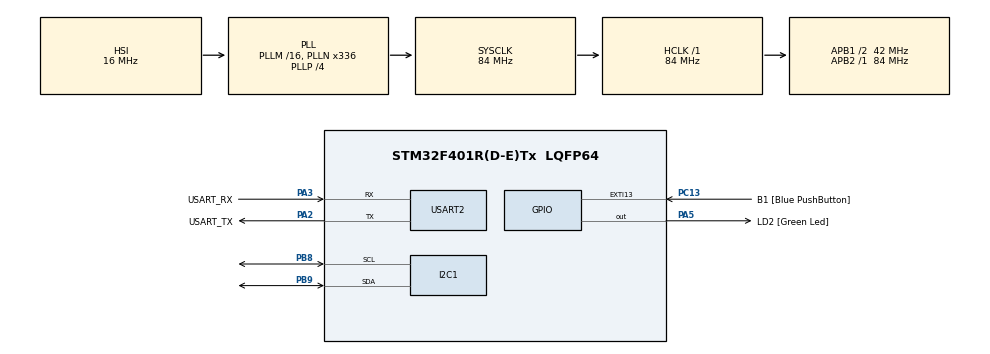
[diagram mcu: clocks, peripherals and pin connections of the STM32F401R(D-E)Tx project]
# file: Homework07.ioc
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Dma.I2C1_RX.1.Direction=DMA_PERIPH_TO_MEMORY
Dma.I2C1_RX.1.FIFOMode=DMA_FIFOMODE_DISABLE
Dma.I2C1_RX.1.Instance=DMA1_Stream0
Dma.I2C1_RX.1.MemDataAlignment=DMA_MDATAALIGN_BYTE
Dma.I2C1_RX.1.MemInc=DMA_MINC_ENABLE
Dma.I2C1_RX.1.Mode=DMA_NORMAL
Dma.I2C1_RX.1.PeriphDataAlignment=DMA_PDATAALIGN_BYTE
Dma.I2C1_RX.1.PeriphInc=DMA_PINC_DISABLE
Dma.I2C1_RX.1.Priority=DMA_PRIORITY_LOW
Dma.I2C1_TX.2.Direction=DMA_MEMORY_TO_PERIPH
Dma.I2C1_TX.2.FIFOMode=DMA_FIFOMODE_DISABLE
Dma.I2C1_TX.2.Instance=DMA1_Stream7
Dma.I2C1_TX.2.MemDataAlignment=DMA_MDATAALIGN_BYTE
Dma.I2C1_TX.2.MemInc=DMA_MINC_ENABLE
Dma.I2C1_TX.2.Mode=DMA_NORMAL
Dma.I2C1_TX.2.PeriphDataAlignment=DMA_PDATAALIGN_BYTE
Dma.I2C1_TX.2.PeriphInc=DMA_PINC_DISABLE
Dma.I2C1_TX.2.Priority=DMA_PRIORITY_LOW
Dma.Request0=USART2_TX
Dma.Request1=I2C1_RX
Dma.Request2=I2C1_TX
Dma.USART2_TX.0.Direction=DMA_MEMORY_TO_PERIPH
Dma.USART2_TX.0.FIFOMode=DMA_FIFOMODE_DISABLE
Dma.USART2_TX.0.Instance=DMA1_Stream6
Dma.USART2_TX.0.MemDataAlignment=DMA_MDATAALIGN_BYTE
Dma.USART2_TX.0.MemInc=DMA_MINC_ENABLE
Dma.USART2_TX.0.Mode=DMA_NORMAL
Dma.USART2_TX.0.PeriphDataAlignment=DMA_PDATAALIGN_BYTE
Dma.USART2_TX.0.PeriphInc=DMA_PINC_DISABLE
Dma.USART2_TX.0.Priority=DMA_PRIORITY_HIGH
Mcu.Family=STM32F4
Mcu.Name=STM32F401R(D-E)Tx
Mcu.Package=LQFP64
NVIC.DMA1_Stream0_IRQn=true\:0\:0\:false\:false\:true\:false\:true\:true
NVIC.DMA1_Stream6_IRQn=true\:0\:0\:false\:false\:true\:false\:true\:true
NVIC.DMA1_Stream7_IRQn=true\:0\:0\:false\:false\:true\:false\:true\:true
NVIC.I2C1_EV_IRQn=true\:0\:0\:false\:false\:true\:true\:true\:true
NVIC.PriorityGroup=NVIC_PRIORITYGROUP_4
NVIC.TIM3_IRQn=true\:0\:0\:false\:false\:true\:true\:true\:true
NVIC.USART2_IRQn=true\:0\:0\:false\:false\:true\:true\:true\:true
PA13.GPIO_Label=TMS
PA13.Mode=Trace_Asynchronous_SW
PA13.Signal=SYS_JTMS-SWDIO
PA14.GPIO_Label=TCK
PA14.Mode=Trace_Asynchronous_SW
PA14.Signal=SYS_JTCK-SWCLK
PA2.GPIO_Label=USART_TX
PA2.GPIO_Mode=GPIO_MODE_AF_PP
PA2.GPIO_PuPd=GPIO_NOPULL
PA2.GPIO_Speed=GPIO_SPEED_FREQ_LOW
PA2.Mode=Asynchronous
PA2.Signal=USART2_TX
PA3.GPIO_Label=USART_RX
PA3.GPIO_Mode=GPIO_MODE_AF_PP
PA3.GPIO_PuPd=GPIO_NOPULL
PA3.GPIO_Speed=GPIO_SPEED_FREQ_LOW
PA3.Mode=Asynchronous
PA3.Signal=USART2_RX
PA5.GPIO_Label=LD2 [Green Led]
PA5.GPIO_Mode=GPIO_MODE_OUTPUT_PP
PA5.GPIO_PuPd=GPIO_NOPULL
PA5.GPIO_Speed=GPIO_SPEED_FREQ_LOW
PA5.Signal=GPIO_Output
PB3.GPIO_Label=SWO
PB3.Mode=Trace_Asynchronous_SW
PB3.Signal=SYS_JTDO-SWO
PB8.Mode=I2C
PB8.Signal=I2C1_SCL
PB9.Mode=I2C
PB9.Signal=I2C1_SDA
PC13-ANTI_TAMP.GPIO_Label=B1 [Blue PushButton]
PC13-ANTI_TAMP.GPIO_ModeDefaultEXTI=GPIO_MODE_IT_FALLING
PC13-ANTI_TAMP.GPIO_PuPd=GPIO_NOPULL
PC13-ANTI_TAMP.Signal=GPXTI13
PC14-OSC32_IN.Mode=LSE-External-Oscillator
PC14-OSC32_IN.Signal=RCC_OSC32_IN
PC15-OSC32_OUT.Mode=LSE-External-Oscillator
PC15-OSC32_OUT.Signal=RCC_OSC32_OUT
PH0\ -\ OSC_IN.Mode=HSE-External-Clock-Source
PH0\ -\ OSC_IN.Signal=RCC_OSC_IN
PH1\ -\ OSC_OUT.Mode=HSE-External-Clock-Source
PH1\ -\ OSC_OUT.Signal=RCC_OSC_OUT
ProjectManager.HeapSize=0x200
ProjectManager.StackSize=0x400
ProjectManager.TargetToolchain=STM32CubeIDE
RCC.48MHZClocksFreq_Value=48000000
RCC.AHBFreq_Value=84000000
RCC.APB1CLKDivider=RCC_HCLK_DIV2
RCC.APB1Freq_Value=42000000
RCC.APB1TimFreq_Value=84000000
RCC.APB2Freq_Value=84000000
RCC.APB2TimFreq_Value=84000000
RCC.CortexFreq_Value=84000000
RCC.HCLKFreq_Value=84000000
RCC.HSE_VALUE=8000000
RCC.HSI_VALUE=16000000
RCC.PLLN=336
RCC.PLLP=RCC_PLLP_DIV4
RCC.PLLQ=7
RCC.SYSCLKFreq_VALUE=84000000
RCC.SYSCLKSource=RCC_SYSCLKSOURCE_PLLCLK
RCC.VCOOutputFreq_Value=336000000
TIM3.Period=9999
TIM3.Prescaler=8399
TIM3.TIM_MasterOutputTrigger=TIM_TRGO_UPDATE
USART2.VirtualMode=VM_ASYNC
VP_TIM3_VS_ClockSourceINT.Mode=Internal
board=NUCLEO-F401RE

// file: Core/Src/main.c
/* USER CODE BEGIN Header */
/**
  ******************************************************************************
  * @file           : main.c
  * @brief          : Main program body
  ******************************************************************************
  * @attention
  *
  * Copyright (c) 2025 STMicroelectronics.
  * All rights reserved.
  *
  * This software is licensed under terms that can be found in the LICENSE file
  * in the root directory of this software component.
  * If no LICENSE file comes with this software, it is provided AS-IS.
  *
  ******************************************************************************
  */
/* USER CODE END Header */
#include "main.h"

/* USER CODE BEGIN Includes */
#include <stdio.h>
/* USER CODE END Includes */

I2C_HandleTypeDef hi2c1;
DMA_HandleTypeDef hdma_i2c1_rx;
DMA_HandleTypeDef hdma_i2c1_tx;

TIM_HandleTypeDef htim3;

UART_HandleTypeDef huart2;
DMA_HandleTypeDef hdma_usart2_tx;

/* USER CODE BEGIN PV */
uint8_t LM75B_ADDRESS = 0b10010000;
uint8_t LM75B_TEMP_ADDRESS = 0x00;

uint8_t temp[6];
/* USER CODE END PV */

void SystemClock_Config(void);
static void MX_GPIO_Init(void);
static void MX_DMA_Init(void);
static void MX_USART2_UART_Init(void);
static void MX_I2C1_Init(void);
static void MX_TIM3_Init(void);

/* USER CODE BEGIN 0 */
void HAL_TIM_PeriodElapsedCallback(TIM_HandleTypeDef *htim){
	if(htim->Instance == TIM3){
		// receive the temperature 3 times
		HAL_I2C_Master_Receive_DMA(&hi2c1, LM75B_ADDRESS+1, temp, 6);
	}
}

void HAL_I2C_MasterRxCpltCallback(I2C_HandleTypeDef *hi2c){
	if(hi2c->Instance == I2C1){
		int16_t temperature = 0;
		if (temp[0]==temp[2] && temp[1]==temp[3]){
			// if I read the same temp 2 times, it was correct
			temperature = temp[0]<<8 | temp[1];
		} else {
			// else, the third reading is the correct temperature
			temperature = temp[4]<<8 | temp[5];
		}

		char buf[512];
		float temp_c = temperature/256.0; // divide xxxxxxxx-xxx00000 by 2^8 to get xxxxxxxx.xxx
		int len = snprintf(buf, sizeof(buf), "Temp: %.3f°C\r\n", temp_c);
		HAL_UART_Transmit_DMA(&huart2, (uint8_t *)buf, len);
	}
}
/* USER CODE END 0 */

int main(void)
{

  /* MCU Configuration--------------------------------------------------------*/

  /* Reset of all peripherals, Initializes the Flash interface and the Systick. */
  HAL_Init();

  /* Configure the system clock */
  SystemClock_Config();

  /* Initialize all configured peripherals */
  MX_GPIO_Init();
  MX_DMA_Init();
  MX_USART2_UART_Init();
  MX_I2C1_Init();
  MX_TIM3_Init();
  /* USER CODE BEGIN 2 */
  // transmit to the sensor the address I want to read in the next operation (in this case the temp reg)
  HAL_I2C_Master_Transmit(&hi2c1, LM75B_ADDRESS, &LM75B_TEMP_ADDRESS, 1, 10);
  HAL_TIM_Base_Start_IT(&htim3);
  /* USER CODE END 2 */

  /* Infinite loop */
  while (1)
  {

  }
}

void SystemClock_Config(void)
{
  RCC_OscInitTypeDef RCC_OscInitStruct = {0};
  RCC_ClkInitTypeDef RCC_ClkInitStruct = {0};

  /** Configure the main internal regulator output voltage
  */
  __HAL_RCC_PWR_CLK_ENABLE();
  __HAL_PWR_VOLTAGESCALING_CONFIG(PWR_REGULATOR_VOLTAGE_SCALE2);

  /** Initializes the RCC Oscillators according to the specified parameters
  * in the RCC_OscInitTypeDef structure.
  */
  RCC_OscInitStruct.OscillatorType = RCC_OSCILLATORTYPE_HSI;
  RCC_OscInitStruct.HSIState = RCC_HSI_ON;
  RCC_OscInitStruct.HSICalibrationValue = RCC_HSICALIBRATION_DEFAULT;
  RCC_OscInitStruct.PLL.PLLState = RCC_PLL_ON;
  RCC_OscInitStruct.PLL.PLLSource = RCC_PLLSOURCE_HSI;
  RCC_OscInitStruct.PLL.PLLM = 16;
  RCC_OscInitStruct.PLL.PLLN = 336;
  RCC_OscInitStruct.PLL.PLLP = RCC_PLLP_DIV4;
  RCC_OscInitStruct.PLL.PLLQ = 7;
  if (HAL_RCC_OscConfig(&RCC_OscInitStruct) != HAL_OK)
  {
    Error_Handler();
  }

  /** Initializes the CPU, AHB and APB buses clocks
  */
  RCC_ClkInitStruct.ClockType = RCC_CLOCKTYPE_HCLK|RCC_CLOCKTYPE_SYSCLK
                              |RCC_CLOCKTYPE_PCLK1|RCC_CLOCKTYPE_PCLK2;
  RCC_ClkInitStruct.SYSCLKSource = RCC_SYSCLKSOURCE_PLLCLK;
  RCC_ClkInitStruct.AHBCLKDivider = RCC_SYSCLK_DIV1;
  RCC_ClkInitStruct.APB1CLKDivider = RCC_HCLK_DIV2;
  RCC_ClkInitStruct.APB2CLKDivider = RCC_HCLK_DIV1;

  if (HAL_RCC_ClockConfig(&RCC_ClkInitStruct, FLASH_LATENCY_2) != HAL_OK)
  {
    Error_Handler();
  }
}

static void MX_I2C1_Init(void)
{

  hi2c1.Instance = I2C1;
  hi2c1.Init.ClockSpeed = 100000;
  hi2c1.Init.DutyCycle = I2C_DUTYCYCLE_2;
  hi2c1.Init.OwnAddress1 = 0;
  hi2c1.Init.AddressingMode = I2C_ADDRESSINGMODE_7BIT;
  hi2c1.Init.DualAddressMode = I2C_DUALADDRESS_DISABLE;
  hi2c1.Init.OwnAddress2 = 0;
  hi2c1.Init.GeneralCallMode = I2C_GENERALCALL_DISABLE;
  hi2c1.Init.NoStretchMode = I2C_NOSTRETCH_DISABLE;
  if (HAL_I2C_Init(&hi2c1) != HAL_OK)
  {
    Error_Handler();
  }

}

static void MX_TIM3_Init(void)
{

  TIM_ClockConfigTypeDef sClockSourceConfig = {0};
  TIM_MasterConfigTypeDef sMasterConfig = {0};

  htim3.Instance = TIM3;
  htim3.Init.Prescaler = 8399;
  htim3.Init.CounterMode = TIM_COUNTERMODE_UP;
  htim3.Init.Period = 9999;
  htim3.Init.ClockDivision = TIM_CLOCKDIVISION_DIV1;
  htim3.Init.AutoReloadPreload = TIM_AUTORELOAD_PRELOAD_DISABLE;
  if (HAL_TIM_Base_Init(&htim3) != HAL_OK)
  {
    Error_Handler();
  }
  sClockSourceConfig.ClockSource = TIM_CLOCKSOURCE_INTERNAL;
  if (HAL_TIM_ConfigClockSource(&htim3, &sClockSourceConfig) != HAL_OK)
  {
    Error_Handler();
  }
  sMasterConfig.MasterOutputTrigger = TIM_TRGO_UPDATE;
  sMasterConfig.MasterSlaveMode = TIM_MASTERSLAVEMODE_DISABLE;
  if (HAL_TIMEx_MasterConfigSynchronization(&htim3, &sMasterConfig) != HAL_OK)
  {
    Error_Handler();
  }

}

static void MX_USART2_UART_Init(void)
{

  huart2.Instance = USART2;
  huart2.Init.BaudRate = 115200;
  huart2.Init.WordLength = UART_WORDLENGTH_8B;
  huart2.Init.StopBits = UART_STOPBITS_1;
  huart2.Init.Parity = UART_PARITY_NONE;
  huart2.Init.Mode = UART_MODE_TX_RX;
  huart2.Init.HwFlowCtl = UART_HWCONTROL_NONE;
  huart2.Init.OverSampling = UART_OVERSAMPLING_16;
  if (HAL_UART_Init(&huart2) != HAL_OK)
  {
    Error_Handler();
  }

}

static void MX_DMA_Init(void)
{

  /* DMA controller clock enable */
  __HAL_RCC_DMA1_CLK_ENABLE();

  /* DMA interrupt init */
  /* DMA1_Stream0_IRQn interrupt configuration */
  HAL_NVIC_SetPriority(DMA1_Stream0_IRQn, 0, 0);
  HAL_NVIC_EnableIRQ(DMA1_Stream0_IRQn);
  /* DMA1_Stream6_IRQn interrupt configuration */
  HAL_NVIC_SetPriority(DMA1_Stream6_IRQn, 0, 0);
  HAL_NVIC_EnableIRQ(DMA1_Stream6_IRQn);
  /* DMA1_Stream7_IRQn interrupt configuration */
  HAL_NVIC_SetPriority(DMA1_Stream7_IRQn, 0, 0);
  HAL_NVIC_EnableIRQ(DMA1_Stream7_IRQn);

}

static void MX_GPIO_Init(void)
{
  GPIO_InitTypeDef GPIO_InitStruct = {0};

  /* GPIO Ports Clock Enable */
  __HAL_RCC_GPIOC_CLK_ENABLE();
  __HAL_RCC_GPIOH_CLK_ENABLE();
  __HAL_RCC_GPIOA_CLK_ENABLE();
  __HAL_RCC_GPIOB_CLK_ENABLE();

  /*Configure GPIO pin Output Level */
  HAL_GPIO_WritePin(LD2_GPIO_Port, LD2_Pin, GPIO_PIN_RESET);

  /*Configure GPIO pin : B1_Pin */
  GPIO_InitStruct.Pin = B1_Pin;
  GPIO_InitStruct.Mode = GPIO_MODE_IT_FALLING;
  GPIO_InitStruct.Pull = GPIO_NOPULL;
  HAL_GPIO_Init(B1_GPIO_Port, &GPIO_InitStruct);

  /*Configure GPIO pin : LD2_Pin */
  GPIO_InitStruct.Pin = LD2_Pin;
  GPIO_InitStruct.Mode = GPIO_MODE_OUTPUT_PP;
  GPIO_InitStruct.Pull = GPIO_NOPULL;
  GPIO_InitStruct.Speed = GPIO_SPEED_FREQ_LOW;
  HAL_GPIO_Init(LD2_GPIO_Port, &GPIO_InitStruct);

}

void Error_Handler(void)
{
  __disable_irq();
  while (1)
  {
  }
}
